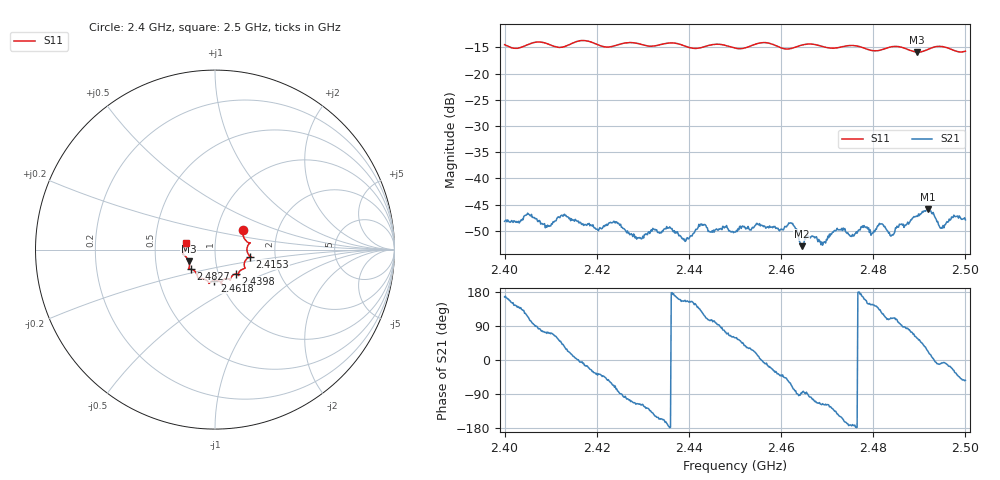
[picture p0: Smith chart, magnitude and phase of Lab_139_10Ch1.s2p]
# Hz S RI R 50
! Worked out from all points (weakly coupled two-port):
!   601 points, 2.4 GHz to 2.5 GHz, reference 50 ohm
!   highest |S21| = -45.83 dB at 2.4918 GHz (marker M1); lowest = -52.9 dB at 2.4645 GHz (marker M2)
!   lowest |S11| = -15.9 dB at 2.4895 GHz (marker M3), VSWR 1.38, Z = 37 - j5.01 ohm
!   |S11| at or under -10 dB: start of sweep to end of sweep
!   S12 and S22 are empty: the file has one direction only
!   S11 on the Smith chart (normalised r, x): 2.4 GHz: 1.33, +0.30; 2.4153 GHz: 1.48, -0.12; 2.4398 GHz: 1.21, -0.34; 2.4618 GHz: 0.94, -0.33; 2.4827 GHz: 0.75, -0.17; 2.5 GHz: 0.72, +0.06
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2.4e9  0.1553 0.1071  -0.00379 0.000912  0 0  0 0
2.415333e9  0.1961 -0.0388  0.00405 0.000379  0 0  0 0
2.416667e9  0.2022 -0.0427  0.00363 -0.000407  0 0  0 0
2.424167e9  0.1631 -0.089  0.000895 -0.00374  0 0  0 0
2.429167e9  0.1607 -0.1061  -0.00122 -0.0024  0 0  0 0
2.433333e9  0.1306 -0.1336  -0.00266 -0.00145  0 0  0 0
2.435667e9  0.1317 -0.1449  -0.00334 -0.000235  0 0  0 0
2.439833e9  0.1157 -0.136  -0.00238 0.00114  0 0  0 0
2.443e9  0.0892 -0.1547  -0.00197 0.00306  0 0  0 0
2.45e9  0.0654 -0.1626  0.0016 0.00262  0 0  0 0
2.461833e9  -0.00285 -0.1726  0.00187 -0.00321  0 0  0 0
2.4645e9  -0.0305 -0.1846  0.000102 -0.00225  0 0  0 0
2.466667e9  -0.0343 -0.1881  -0.000558 -0.00275  0 0  0 0
2.469167e9  -0.0408 -0.1759  -0.0011 -0.00214  0 0  0 0
2.472e9  -0.07 -0.1613  -0.00242 -0.00211  0 0  0 0
2.482667e9  -0.135 -0.1091  -0.00127 0.0031  0 0  0 0
2.483333e9  -0.1402 -0.1088  -0.000858 0.00288  0 0  0 0
2.4895e9  -0.1458 -0.066  0.00235 0.0037  0 0  0 0
2.491833e9  -0.1662 -0.0358  0.00467 0.00208  0 0  0 0
2.494833e9  -0.1803 -0.0202  0.00337 -0.000447  0 0  0 0
2.4975e9  -0.1664 -0.00143  0.00396 -0.00204  0 0  0 0
2.5e9  -0.159 0.0387  0.00239 -0.00323  0 0  0 0
